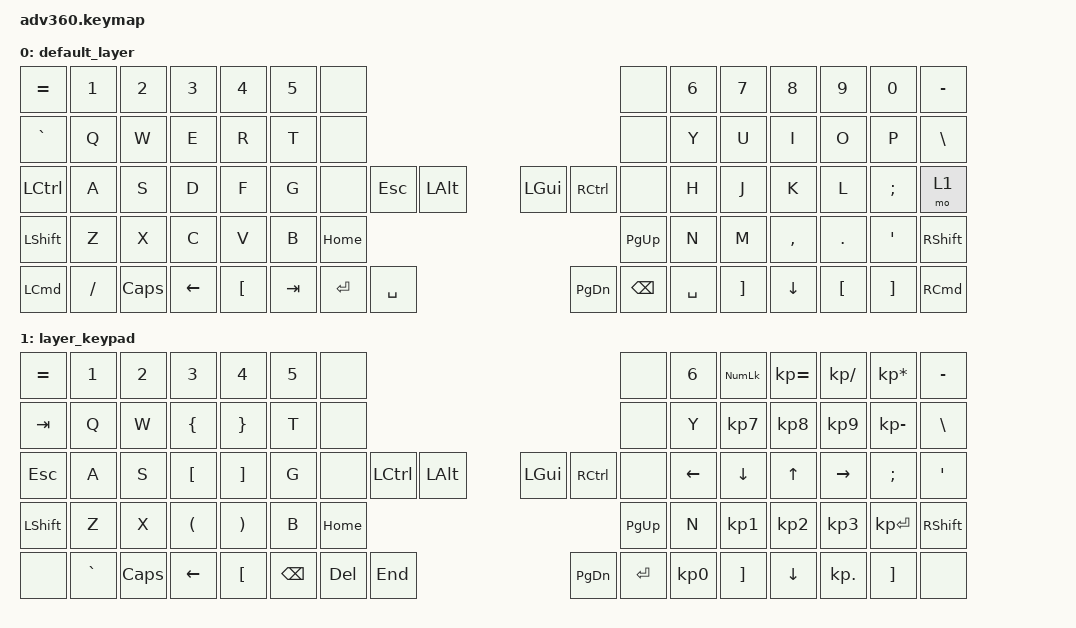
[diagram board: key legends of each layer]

/*
 * Copyright (c) 2020 The ZMK Contributors
 *
 * SPDX-License-Identifier: MIT
 */


/* THIS FILE WAS GENERATED!
 *
 * This file was generated automatically. You may or may not want to
 * edit it directly.
 */

#include <behaviors.dtsi>
#include <dt-bindings/zmk/keys.h>

/ {
  behaviors {
    #include "macros.dtsi"
    #include "version.dtsi"

    hm: homerow_mods {
        compatible = "zmk,behavior-hold-tap";
        label = "HOMEROW_MODS";
        #binding-cells = <2>;
        tapping-term-ms = <200>;
        quick_tap_ms = <175>;
        flavor = "tap-preferred";
        bindings = <&kp>, <&kp>;
    };
  };

    keymap {
        compatible = "zmk,keymap";


        default_layer {
            bindings = <
        &kp EQUAL     &kp N1    &kp N2    &kp N3            &kp N4  &kp N5              &none                                                                       &none  &kp N6             &kp N7     &kp N8    &kp N9            &kp N0          &kp MINUS
        &kp GRAVE      &kp Q     &kp W     &kp E             &kp R   &kp T              &none                                                                       &none   &kp Y              &kp U      &kp I     &kp O             &kp P           &kp BSLH
        &kp LCTRL      &kp A     &kp S     &kp D             &kp F   &kp G              &none  &kp ESCAPE   &kp LALT                   &kp LGUI      &kp RCTRL      &none   &kp H              &kp J      &kp K     &kp L          &kp SEMI              &mo 1
        &kp LSHFT      &kp Z     &kp X     &kp C             &kp V   &kp B                                  &kp HOME                  &kp PG_UP                             &kp N              &kp M  &kp COMMA   &kp DOT  &kp SINGLE_QUOTE    &kp RIGHT_SHIFT
 &kp LEFT_COMMAND  &kp SLASH  &kp CAPS  &kp LEFT  &kp LEFT_BRACKET                    &kp TAB   &kp ENTER  &kp SPACE                  &kp PG_DN  &kp BACKSPACE  &kp SPACE          &kp RIGHT_BRACKET   &kp DOWN  &kp LBKT          &kp RBKT  &kp RIGHT_COMMAND
            >;
        };

        layer_keypad {
            bindings = <
 &kp EQUAL     &kp N1    &kp N2                &kp N3                 &kp N4  &kp N5               &none                                                                 &none    &kp N6         &kp KP_NUM  &kp KP_EQUAL  &kp KP_DIVIDE  &kp KP_MULTIPLY  &kp MINUS
   &kp TAB      &kp Q     &kp W        &kp LEFT_BRACE        &kp RIGHT_BRACE   &kp T               &none                                                                 &none     &kp Y          &kp KP_N7     &kp KP_N8      &kp KP_N9     &kp KP_MINUS   &kp BSLH
   &kp ESC      &kp A     &kp S      &kp LEFT_BRACKET      &kp RIGHT_BRACKET   &kp G               &none  &kp LCTRL  &kp LALT                   &kp LGUI  &kp RCTRL      &none  &kp LEFT           &kp DOWN        &kp UP      &kp RIGHT    &kp SEMICOLON    &kp SQT
 &kp LSHFT      &kp Z     &kp X  &kp LEFT_PARENTHESIS  &kp RIGHT_PARENTHESIS   &kp B                                 &kp HOME                  &kp PG_UP                           &kp N          &kp KP_N1     &kp KP_N2      &kp KP_N3     &kp KP_ENTER  &kp RSHFT
     &none  &kp GRAVE  &kp CAPS              &kp LEFT       &kp LEFT_BRACKET                    &kp BSPC    &kp DEL   &kp END                  &kp PG_DN  &kp ENTER  &kp KP_N0            &kp RIGHT_BRACKET      &kp DOWN     &kp KP_DOT         &kp RBKT      &none
            >;
        };

    };
};
